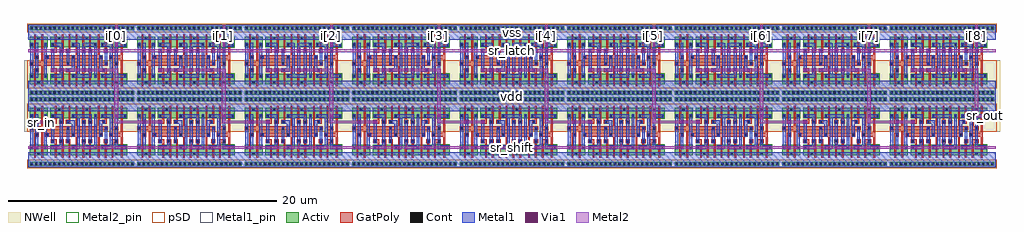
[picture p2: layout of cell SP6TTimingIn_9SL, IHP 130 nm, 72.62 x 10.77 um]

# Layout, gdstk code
import gdstk
lib = gdstk.Library(unit=1e-6, precision=1e-09)
def R(c, l, rs):  # rectangles x0, y0, x1, y1
    for r in rs: c.add(gdstk.rectangle(r[:2], r[2:], *l))
def A(c, l, x, y, w, h, nx, ny, dx, dy):  # array of equal rectangles
    R(c, l, [(x+i*dx, y+j*dy, x+i*dx+w, y+j*dy+h) for i in range(nx) for j in range(ny)])
def P(c, l, *ps):  # polygons
    for p in ps: c.add(gdstk.Polygon(p, *l))
Activ = (1, 0)
GatPoly = (5, 0)
Cont = (6, 0)
Metal1 = (8, 0)
Metal1_pin = (8, 2)
Metal2 = (10, 0)
Metal2_pin = (10, 2)
pSD = (14, 0)
Via1 = (19, 0)
NWell = (31, 0)

dff_x1 = lib.new_cell('dff_x1')
R(dff_x1, Activ, [(0.105,0.105,7.895,0.405), (0.105,0.89,1.445,1.67), (0.105,3.64,1.445,4.42), (0.105,4.905,7.895,5.205)])
P(dff_x1, Activ, [(6.415,3.6),(6.415,3.64),(1.655,3.64),(1.655,4.42),(7.365,4.42),(7.365,3.6)],
  [(1.655,0.89),(1.655,1.67),(6.415,1.67),(6.415,1.72),(7.365,1.72),(7.365,0.89)])
P(dff_x1, GatPoly, [(4.035,0.71),(4.035,1.79),(3.985,1.79),(3.985,2.09),(4.285,2.09),(4.285,1.79),(4.165,1.79),(4.165,0.71)],
  [(6.215,2.75),(6.215,4.6),(6.345,4.6),(6.345,3.05),(6.715,3.05),(6.715,2.75)],
  [(4.545,0.71),(4.545,1.79),(4.465,1.79),(4.465,2.09),(4.765,2.09),(4.765,1.79),(4.675,1.79),(4.675,0.71)],
  [(6.215,0.71),(6.215,2.09),(6.715,2.09),(6.715,1.79),(6.345,1.79),(6.345,0.71)],
  [(6.895,0.71),(6.895,2.27),(6.025,2.27),(6.025,2.57),(6.895,2.57),(6.895,4.6),(7.025,4.6),(7.025,0.71)],
  [(5.705,0.71),(5.705,1.79),(5.635,1.79),(5.635,2.09),(5.935,2.09),(5.935,1.79),(5.835,1.79),(5.835,0.71)],
  [(2.505,0.71),(2.505,1.79),(2.305,1.79),(2.305,2.09),(2.635,2.09),(2.635,0.71)],
  [(3.015,0.71),(3.015,1.79),(2.815,1.79),(2.815,2.09),(3.145,2.09),(3.145,0.71)],
  [(0.975,0.71),(0.975,2.75),(0.105,2.75),(0.105,3.05),(0.975,3.05),(0.975,4.6),(1.105,4.6),(1.105,3.05),(3.525,3.05),(3.525,4.6),(3.655,4.6),(3.655,3.05),(5.195,3.05),(5.195,4.6),(5.325,4.6),(5.325,3.05),(5.935,3.05),(5.935,2.75),(1.105,2.75),(1.105,0.71)],
  [(1.995,0.71),(1.995,1.79),(1.675,1.79),(1.675,2.09),(2.125,2.09),(2.125,0.71)],
  [(2.305,3.23),(2.305,3.53),(2.505,3.53),(2.505,4.6),(2.635,4.6),(2.635,3.23)],
  [(2.815,3.23),(2.815,3.53),(3.015,3.53),(3.015,4.6),(3.145,4.6),(3.145,3.23)],
  [(5.505,3.23),(5.505,3.53),(5.705,3.53),(5.705,4.6),(5.835,4.6),(5.835,3.23)],
  [(0.445,0.71),(0.445,2.57),(0.795,2.57),(0.795,2.27),(0.575,2.27),(0.575,0.71)],
  [(3.525,0.71),(3.525,2.27),(1.285,2.27),(1.285,2.57),(5.545,2.57),(5.545,2.27),(5.325,2.27),(5.325,0.71),(5.195,0.71),(5.195,2.27),(3.655,2.27),(3.655,0.71)],
  [(3.985,3.23),(3.985,3.53),(4.035,3.53),(4.035,4.6),(4.165,4.6),(4.165,3.53),(4.285,3.53),(4.285,3.23)],
  [(0.445,3.23),(0.445,4.6),(0.575,4.6),(0.575,3.53),(0.795,3.53),(0.795,3.23)],
  [(1.675,3.23),(1.675,3.53),(1.995,3.53),(1.995,4.6),(2.125,4.6),(2.125,3.23)],
  [(4.465,3.23),(4.465,3.53),(4.545,3.53),(4.545,4.6),(4.675,4.6),(4.675,3.53),(4.765,3.53),(4.765,3.23)])
A(dff_x1, Cont, 0.18, 0.175, 0.16, 0.16, 23, 2, 0.34, 4.8)
R(dff_x1, Cont, [(0.685,0.96,0.845,1.12), (2.235,0.96,2.395,1.12), (4.275,0.96,4.435,1.12), (6.485,0.96,6.645,1.12), (0.175,1.405,0.335,1.565), (1.215,1.405,1.375,1.565), (1.725,1.405,1.885,1.565), (3.255,1.405,3.415,1.565), (4.925,1.405,5.085,1.565), (5.435,1.405,5.595,1.565), (7.135,1.405,7.295,1.565), (1.745,1.86,1.905,2.02), (2.375,1.86,2.535,2.02), (2.885,1.86,3.045,2.02), (4.055,1.86,4.215,2.02), (4.535,1.86,4.695,2.02), (5.705,1.86,5.865,2.02), (6.485,1.86,6.645,2.02), (0.565,2.34,0.725,2.5), (1.355,2.34,1.515,2.5), (3.275,2.34,3.435,2.5), (5.315,2.34,5.475,2.5), (6.095,2.34,6.255,2.5), (0.175,2.82,0.335,2.98), (2.885,2.82,3.045,2.98), (5.705,2.82,5.865,2.98), (6.485,2.82,6.645,2.98), (0.565,3.3,0.725,3.46), (1.745,3.3,1.905,3.46), (2.375,3.3,2.535,3.46), (2.885,3.3,3.045,3.46), (4.055,3.3,4.215,3.46), (4.535,3.3,4.695,3.46), (5.575,3.3,5.735,3.46), (0.175,3.75,0.335,3.91), (1.215,3.75,1.375,3.91), (1.725,3.75,1.885,3.91), (3.255,3.75,3.415,3.91), (4.925,3.75,5.085,3.91), (5.435,3.75,5.595,3.91), (7.135,3.75,7.295,3.91), (0.685,4.19,0.845,4.35), (2.235,4.19,2.395,4.35), (4.275,4.19,4.435,4.35), (6.485,4.19,6.645,4.35)])
R(dff_x1, Metal1, [(0,0,8,1.12), (0.54,1.34,0.75,3.97), (1.72,1.81,1.93,3.51), (2.86,1.81,3.07,3.03), (5.68,1.81,5.89,3.03), (0,4.19,8,5.31)])
P(dff_x1, Metal1, [(0.175,1.34),(0.175,1.37),(0.15,1.37),(0.15,3.95),(0.175,3.95),(0.175,3.97),(0.335,3.97),(0.335,3.95),(0.36,3.95),(0.36,1.37),(0.335,1.37),(0.335,1.34)],
  [(1.215,1.34),(1.215,1.37),(1.19,1.37),(1.19,3.95),(1.215,3.95),(1.215,3.97),(1.375,3.97),(1.375,3.95),(1.4,3.95),(1.4,2.55),(1.515,2.55),(1.515,2.29),(1.4,2.29),(1.4,1.37),(1.375,1.37),(1.375,1.34)],
  [(5.29,2.29),(5.29,3.51),(5.735,3.51),(5.735,3.25),(5.5,3.25),(5.5,2.29)],
  [(3.25,2.29),(3.25,3.25),(2.885,3.25),(2.885,3.51),(3.46,3.51),(3.46,2.29)],
  [(3.255,1.34),(3.255,1.63),(3.64,1.63),(3.64,3.69),(3.255,3.69),(3.255,3.97),(4.615,3.97),(4.615,3.95),(4.72,3.95),(4.72,1.81),(4.51,1.81),(4.51,3.69),(3.85,3.69),(3.85,1.37),(3.745,1.37),(3.745,1.34)],
  [(1.725,1.34),(1.725,1.63),(2.35,1.63),(2.35,3.69),(1.725,3.69),(1.725,3.97),(2.455,3.97),(2.455,3.95),(2.56,3.95),(2.56,1.37),(2.455,1.37),(2.455,1.34)],
  [(4.135,1.34),(4.135,1.37),(4.03,1.37),(4.03,3.51),(4.24,3.51),(4.24,1.63),(4.9,1.63),(4.9,3.95),(4.925,3.95),(4.925,3.97),(5.085,3.97),(5.085,3.95),(5.11,3.95),(5.11,1.37),(5.085,1.37),(5.085,1.34)],
  [(5.435,1.34),(5.435,1.63),(6.07,1.63),(6.07,3.69),(5.435,3.69),(5.435,3.97),(6.175,3.97),(6.175,3.95),(6.28,3.95),(6.28,1.37),(6.175,1.37),(6.175,1.34)],
  [(6.46,1.34),(6.46,3.97),(7.295,3.97),(7.295,3.69),(6.67,3.69),(6.67,1.63),(7.295,1.63),(7.295,1.34)])
R(dff_x1, Metal1_pin, [(0,0,8,1.12), (0.54,1.34,0.75,3.97), (6.46,1.34,6.67,3.97), (1.72,1.81,1.93,3.51), (0,4.19,8,5.31)])
R(dff_x1, pSD, [(-0.075,-0.075,8.075,0.585), (-0.075,2.66,8.075,4.72)])
R(dff_x1, NWell, [(-0.31,2.66,8.31,5.62)])
dff_x1.add(gdstk.Label('vdd', (4,4.75), layer=8, texttype=25))
dff_x1.add(gdstk.Label('vss', (4,0.56), layer=8, texttype=25))
dff_x1.add(gdstk.Label('clk', (0.645,2.655), layer=8, texttype=25))
dff_x1.add(gdstk.Label('i', (1.825,2.66), layer=8, texttype=25))
dff_x1.add(gdstk.Label('q', (6.565,2.655), layer=8, texttype=25))

sp6ttimingin_9sl = lib.new_cell('SP6TTimingIn_9SL')
A(sp6ttimingin_9sl, Metal1, 0.54, 1.34, 0.21, 0.29, 9, 2, 8, 7.195)
A(sp6ttimingin_9sl, Metal1, 1.72, 3.22, 0.21, 0.29, 9, 2, 8, 3.89)
A(sp6ttimingin_9sl, Metal1, 6.46, 3.68, 0.21, 0.29, 9, 2, 8, 5.31)
R(sp6ttimingin_9sl, Metal1, [(0,0,72,1.12), (0,4.19,72,6.43), (0,9.5,72,10.62)])
R(sp6ttimingin_9sl, Metal1_pin, [(0,0,72,1.12), (0,4.19,72,6.43), (0,9.5,72,10.62)])
A(sp6ttimingin_9sl, Metal2, 6.465, 8.99, 0.2, 1.63, 9, 1, 8, 0)
R(sp6ttimingin_9sl, Metal2, [(0,1.385,72,1.585), (0,3.265,1.97,3.465), (0,8.58,72,8.78)])
P(sp6ttimingin_9sl, Metal2, [(6.42,3.265),(6.42,7.155),(1.68,7.155),(1.68,7.355),(6.71,7.355),(6.71,3.465),(9.97,3.465),(9.97,3.265)],
  [(14.42,3.265),(14.42,7.155),(9.68,7.155),(9.68,7.355),(14.71,7.355),(14.71,3.465),(17.97,3.465),(17.97,3.265)],
  [(22.42,3.265),(22.42,7.155),(17.68,7.155),(17.68,7.355),(22.71,7.355),(22.71,3.465),(25.97,3.465),(25.97,3.265)],
  [(30.42,3.265),(30.42,7.155),(25.68,7.155),(25.68,7.355),(30.71,7.355),(30.71,3.465),(33.97,3.465),(33.97,3.265)],
  [(38.42,3.265),(38.42,7.155),(33.68,7.155),(33.68,7.355),(38.71,7.355),(38.71,3.465),(41.97,3.465),(41.97,3.265)],
  [(46.42,3.265),(46.42,7.155),(41.68,7.155),(41.68,7.355),(46.71,7.355),(46.71,3.465),(49.97,3.465),(49.97,3.265)],
  [(54.42,3.265),(54.42,7.155),(49.68,7.155),(49.68,7.355),(54.71,7.355),(54.71,3.465),(57.97,3.465),(57.97,3.265)],
  [(62.42,3.265),(62.42,7.155),(57.68,7.155),(57.68,7.355),(62.71,7.355),(62.71,3.465),(65.97,3.465),(65.97,3.265)],
  [(70.42,3.725),(70.42,7.155),(65.68,7.155),(65.68,7.355),(70.71,7.355),(70.71,3.925),(72,3.925),(72,3.725)])
A(sp6ttimingin_9sl, Metal2_pin, 6.465, 8.99, 0.2, 1.63, 9, 1, 8, 0)
R(sp6ttimingin_9sl, Metal2_pin, [(0,1.385,72,1.585), (0,3.265,1.97,3.465), (70.42,3.725,72,3.925), (0,8.58,72,8.78)])
A(sp6ttimingin_9sl, Via1, 0.55, 1.39, 0.19, 0.19, 9, 2, 8, 7.195)
A(sp6ttimingin_9sl, Via1, 1.73, 3.27, 0.19, 0.19, 9, 2, 8, 3.89)
A(sp6ttimingin_9sl, Via1, 6.47, 3.73, 0.19, 0.19, 9, 2, 8, 5.31)
sp6ttimingin_9sl.add(gdstk.Reference(dff_x1, (0,0)))
sp6ttimingin_9sl.add(gdstk.Reference(dff_x1, (8,0)))
sp6ttimingin_9sl.add(gdstk.Reference(dff_x1, (16,0)))
sp6ttimingin_9sl.add(gdstk.Reference(dff_x1, (24,0)))
sp6ttimingin_9sl.add(gdstk.Reference(dff_x1, (32,0)))
sp6ttimingin_9sl.add(gdstk.Reference(dff_x1, (40,0)))
sp6ttimingin_9sl.add(gdstk.Reference(dff_x1, (48,0)))
sp6ttimingin_9sl.add(gdstk.Reference(dff_x1, (56,0)))
sp6ttimingin_9sl.add(gdstk.Reference(dff_x1, (64,0)))
sp6ttimingin_9sl.add(gdstk.Reference(dff_x1, (0,10.62), x_reflection=True))
sp6ttimingin_9sl.add(gdstk.Reference(dff_x1, (8,10.62), x_reflection=True))
sp6ttimingin_9sl.add(gdstk.Reference(dff_x1, (16,10.62), x_reflection=True))
sp6ttimingin_9sl.add(gdstk.Reference(dff_x1, (24,10.62), x_reflection=True))
sp6ttimingin_9sl.add(gdstk.Reference(dff_x1, (32,10.62), x_reflection=True))
sp6ttimingin_9sl.add(gdstk.Reference(dff_x1, (40,10.62), x_reflection=True))
sp6ttimingin_9sl.add(gdstk.Reference(dff_x1, (48,10.62), x_reflection=True))
sp6ttimingin_9sl.add(gdstk.Reference(dff_x1, (56,10.62), x_reflection=True))
sp6ttimingin_9sl.add(gdstk.Reference(dff_x1, (64,10.62), x_reflection=True))
sp6ttimingin_9sl.add(gdstk.Label('sr_shift', (36,1.485), layer=10, texttype=25))
sp6ttimingin_9sl.add(gdstk.Label('sr_in', (0.985,3.365), layer=10, texttype=25))
sp6ttimingin_9sl.add(gdstk.Label('i[4]', (38.565,9.805), layer=10, texttype=25))
sp6ttimingin_9sl.add(gdstk.Label('sr_latch', (36,8.68), layer=10, texttype=25))
sp6ttimingin_9sl.add(gdstk.Label('i[0]', (6.565,9.805), layer=10, texttype=25))
sp6ttimingin_9sl.add(gdstk.Label('i[1]', (14.565,9.805), layer=10, texttype=25))
sp6ttimingin_9sl.add(gdstk.Label('i[7]', (62.565,9.805), layer=10, texttype=25))
sp6ttimingin_9sl.add(gdstk.Label('i[2]', (22.565,9.805), layer=10, texttype=25))
sp6ttimingin_9sl.add(gdstk.Label('i[5]', (46.565,9.805), layer=10, texttype=25))
sp6ttimingin_9sl.add(gdstk.Label('i[3]', (30.565,9.805), layer=10, texttype=25))
sp6ttimingin_9sl.add(gdstk.Label('i[6]', (54.565,9.805), layer=10, texttype=25))
sp6ttimingin_9sl.add(gdstk.Label('i[8]', (70.565,9.805), layer=10, texttype=25))
sp6ttimingin_9sl.add(gdstk.Label('sr_out', (71.21,3.825), layer=10, texttype=25))
sp6ttimingin_9sl.add(gdstk.Label('vss', (36,0.56), layer=8, texttype=25))
sp6ttimingin_9sl.add(gdstk.Label('vss', (36,10.06), layer=8, texttype=25))
sp6ttimingin_9sl.add(gdstk.Label('vdd', (36,5.31), layer=8, texttype=25))

lib.write_gds('SP6TTimingIn_9SL.gds')
